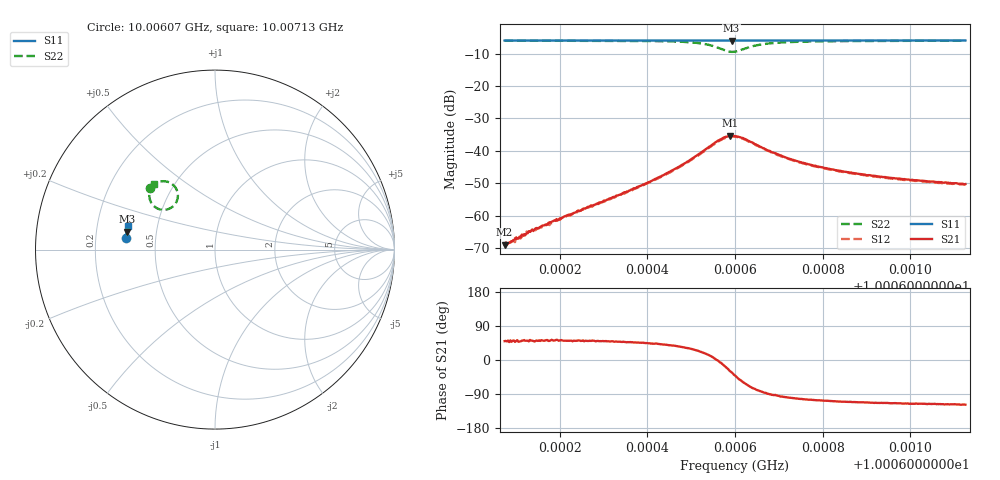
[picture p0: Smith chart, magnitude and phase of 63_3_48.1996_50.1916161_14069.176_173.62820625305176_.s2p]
#  HZ  S  RI  R  50.00
! Rohde & Schwarz Vector Network Analyzer
! Rohde-Schwarz,ZNB20-2Port,1311601062101988,3.16
! Created: UTC 3/20/2024, 11:38:52 AM
! freq[Hz]  re:S11  im:S11  re:S21  im:S21  re:S12  im:S12  re:S22  im:S22
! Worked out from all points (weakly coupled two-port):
!   401 points, 10.00607 GHz to 10.00713 GHz, reference 50 ohm
!   highest |S21| = -35.35 dB at 10.00659 GHz (marker M1); lowest = -69.0 dB at 10.00607 GHz (marker M2)
!   lowest |S11| = -6.0 dB at 10.00659 GHz (marker M3), VSWR 3.01, Z = 16.8 + j4.47 ohm
!   |S11| at or under -10 dB: nowhere
!   |S22| runs from -9.5 to -6.0 dB; largest |S21 - S12| = 0.0012
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1.0006074e10  -0.4971 0.0672  0.000229 0.000272  0.00019 0.000281  -0.3625 0.3429
1.0006087e10  -0.497 0.0681  0.000243 0.000309  0.000239 0.000303  -0.3614 0.3436
1.0006097e10  -0.4969 0.0688  0.0003 0.000331  0.000228 0.000318  -0.3609 0.3444
1.0006116e10  -0.4969 0.07  0.000313 0.000391  0.000287 0.000416  -0.3596 0.346
1.0006129e10  -0.4968 0.0708  0.000375 0.000434  0.000339 0.000467  -0.3586 0.3469
1.0006142e10  -0.4967 0.0716  0.000406 0.000462  0.000335 0.000484  -0.3576 0.3479
1.000625e10  -0.4957 0.0786  0.000782 0.00095  0.000741 0.000981  -0.3482 0.3568
1.0006342e10  -0.4948 0.0847  0.00147 0.00161  0.00136 0.00168  -0.3362 0.3657
1.0006426e10  -0.4939 0.0902  0.0029 0.00263  0.00274 0.00269  -0.3167 0.3759
1.0006481e10  -0.4931 0.0939  0.00517 0.00344  0.00486 0.00359  -0.291 0.3813
1.0006531e10  -0.4923 0.0972  0.00992 0.00311  0.00948 0.00346  -0.2449 0.3693
1.0006568e10  -0.4911 0.0992  0.015 -0.0021  0.0147 -0.00135  -0.2074 0.3098
1.0006589e10  -0.4908 0.0998  0.0148 -0.0086  0.0149 -0.00741  -0.2229 0.2529
1.0006592e10  -0.4908 0.0999  0.0144 -0.00916  0.0145 -0.00818  -0.228 0.2467
1.00066e10  -0.4909 0.1001  0.0127 -0.0111  0.0131 -0.0101  -0.2464 0.2321
1.0006621e10  -0.491 0.1011  0.00758 -0.0134  0.00799 -0.0127  -0.3002 0.2226
1.0006658e10  -0.4913 0.1036  0.00154 -0.0114  0.00205 -0.0112  -0.352 0.2557
1.000671e10  -0.4912 0.1071  -0.00103 -0.00809  -0.000595 -0.00796  -0.3659 0.2962
1.0006776e10  -0.4904 0.1116  -0.00158 -0.00579  -0.00128 -0.00575  -0.3635 0.3224
1.000685e10  -0.4895 0.1164  -0.00164 -0.00449  -0.0014 -0.00449  -0.3575 0.3384
1.0006952e10  -0.488 0.1229  -0.00157 -0.00352  -0.00135 -0.00351  -0.3497 0.3519
1.0007126e10  -0.4856 0.1339  -0.00144 -0.00272  -0.00128 -0.00271  -0.3386 0.367
